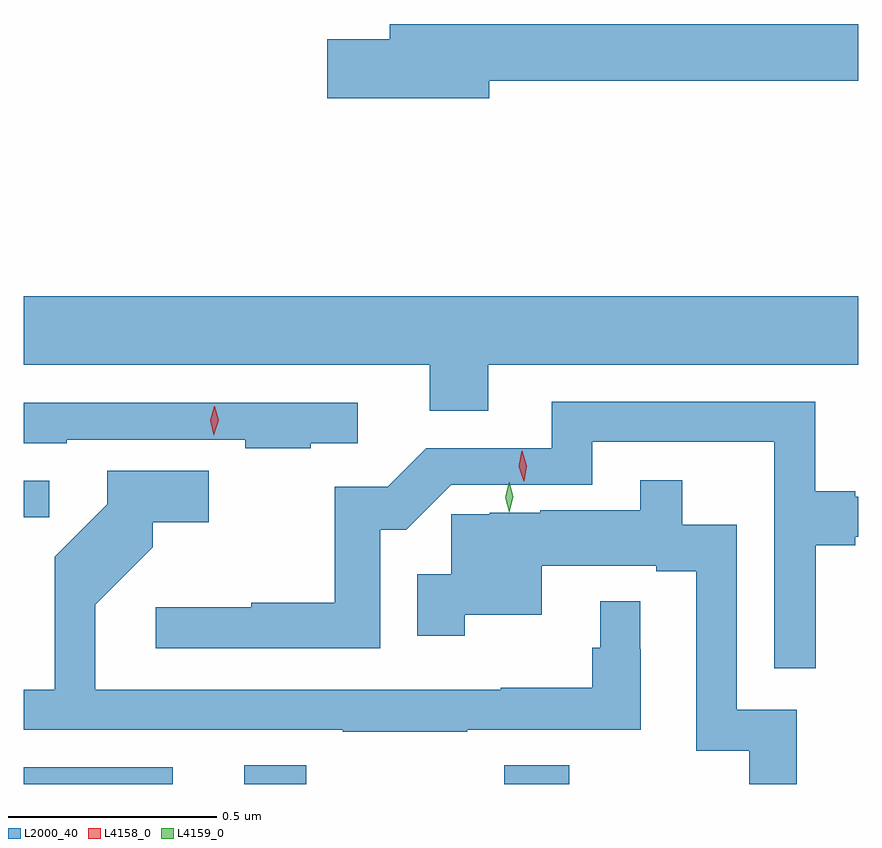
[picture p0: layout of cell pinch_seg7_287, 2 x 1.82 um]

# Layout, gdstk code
import gdstk
lib = gdstk.Library(unit=1e-6, precision=1e-09)
def R(c, l, rs):  # rectangles x0, y0, x1, y1
    for r in rs: c.add(gdstk.rectangle(r[:2], r[2:], *l))
def P(c, l, *ps):  # polygons
    for p in ps: c.add(gdstk.Polygon(p, *l))
L2000_40 = (2000, 40)
L4158_0 = (4158, 0)
L4159_0 = (4159, 0)

pinch_seg7_287 = lib.new_cell('pinch_seg7_287')
R(pinch_seg7_287, L2000_40, [(664.552,1058.219,664.909,1058.259), (665.081,1058.219,665.229,1058.264), (665.704,1058.219,665.859,1058.264), (664.552,1058.858,664.613,1058.946)])
P(pinch_seg7_287, L2000_40, [(665.668,1059.904),(666.552,1059.904),(666.552,1060.04),(665.429,1060.04),(665.429,1060.004),(665.28,1060.004),(665.28,1059.862),(665.668,1059.862)],
  [(665.665,1059.224),(666.552,1059.224),(666.552,1059.388),(664.552,1059.388),(664.552,1059.224),(665.525,1059.224),(665.525,1059.113),(665.665,1059.113)],
  [(666.45,1058.791),(666.544,1058.791),(666.544,1058.811),(666.552,1058.811),(666.552,1058.907),(666.544,1058.907),(666.544,1058.92),(666.449,1058.92),(666.449,1059.135),(665.817,1059.135),(665.817,1059.024),(665.517,1059.024),(665.424,1058.931),(665.298,1058.931),(665.298,1058.653),(665.097,1058.653),(665.097,1058.642),(664.869,1058.642),(664.869,1058.544),(665.406,1058.544),(665.406,1058.828),(665.469,1058.828),(665.576,1058.936),(665.914,1058.936),(665.914,1059.039),(666.351,1059.039),(666.351,1058.496),(666.45,1058.496)],
  [(665.24,1059.036),(665.353,1059.036),(665.353,1059.132),(664.552,1059.132),(664.552,1059.036),(664.655,1059.036),(664.655,1059.044),(665.083,1059.044),(665.083,1059.024),(665.24,1059.024)],
  [(665.615,1058.349),(666.031,1058.349),(666.031,1058.542),(666.03,1058.542),(666.03,1058.657),(665.933,1058.657),(665.933,1058.546),(665.914,1058.546),(665.914,1058.45),(665.695,1058.45),(665.695,1058.445),(664.723,1058.445),(664.723,1058.649),(664.861,1058.786),(664.861,1058.846),(664.996,1058.846),(664.996,1058.969),(664.752,1058.969),(664.752,1058.889),(664.626,1058.763),(664.626,1058.445),(664.552,1058.445),(664.552,1058.349),(665.317,1058.349),(665.317,1058.344),(665.615,1058.344)],
  [(666.404,1058.397),(666.261,1058.397),(666.261,1058.84),(666.13,1058.84),(666.13,1058.947),(666.029,1058.947),(666.029,1058.875),(665.79,1058.875),(665.79,1058.869),(665.669,1058.869),(665.669,1058.865),(665.577,1058.865),(665.577,1058.721),(665.495,1058.721),(665.495,1058.574),(665.609,1058.574),(665.609,1058.625),(665.794,1058.625),(665.794,1058.742),(666.068,1058.742),(666.068,1058.729),(666.164,1058.729),(666.164,1058.299),(666.291,1058.299),(666.291,1058.219),(666.404,1058.219)])
P(pinch_seg7_287, L4158_0, [(665.75,1058.945),(665.75,1058.945),(665.738,1058.98),(665.746,1059.017),(665.747,1059.017),(665.747,1059.017),(665.758,1058.982),(665.751,1058.945)],
  [(665.008,1059.055),(665.008,1059.055),(664.999,1059.09),(665.009,1059.124),(665.01,1059.124),(665.01,1059.124),(665.019,1059.09),(665.008,1059.055)])
P(pinch_seg7_287, L4159_0, [(665.716,1058.87),(665.716,1058.87),(665.706,1058.906),(665.715,1058.943),(665.715,1058.943),(665.715,1058.943),(665.725,1058.907),(665.716,1058.87)])

lib.write_gds('pinch_seg7_287.gds')
